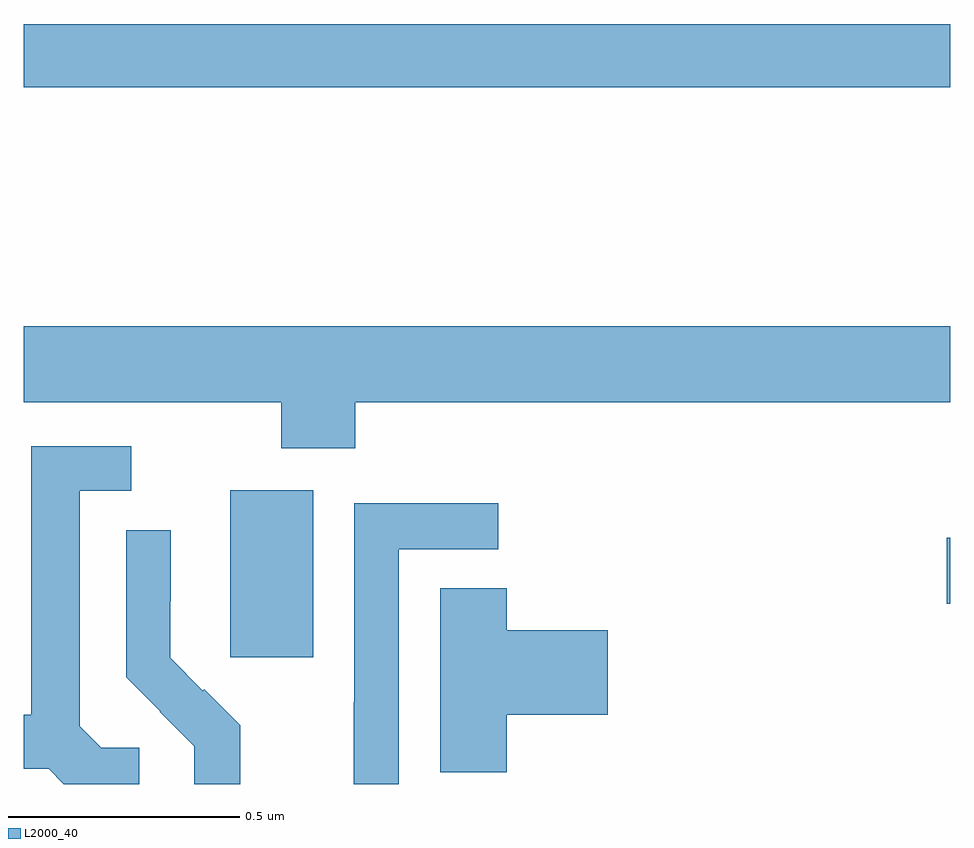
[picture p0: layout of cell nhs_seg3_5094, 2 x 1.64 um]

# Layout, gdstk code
import gdstk
lib = gdstk.Library(unit=1e-6, precision=1e-09)
def R(c, l, rs):  # rectangles x0, y0, x1, y1
    for r in rs: c.add(gdstk.rectangle(r[:2], r[2:], *l))
def P(c, l, *ps):  # polygons
    for p in ps: c.add(gdstk.Polygon(p, *l))
L2000_40 = (2000, 40)

nhs_seg3_5094 = lib.new_cell('nhs_seg3_5094')
R(nhs_seg3_5094, L2000_40, [(174.446,725.673,174.625,726.034), (175.992,725.789,176,725.931), (174,726.904,176,727.04)])
P(nhs_seg3_5094, L2000_40, [(174.716,726.224),(176,726.224),(176,726.388),(174,726.388),(174,726.224),(174.556,726.224),(174.556,726.125),(174.716,726.125)],
  [(174.25,725.478),(174.168,725.478),(174.121,725.525),(174.121,726.033),(174.232,726.033),(174.232,726.129),(174.017,726.129),(174.017,725.549),(174,725.549),(174,725.433),(174.054,725.433),(174.087,725.4),(174.25,725.4)],
  [(174.81,725.907),(175.024,725.907),(175.024,726.006),(174.714,726.006),(174.714,725.576),(174.712,725.576),(174.712,725.4),(174.81,725.4)],
  [(174.467,725.527),(174.39,725.604),(174.387,725.601),(174.317,725.672),(174.317,725.794),(174.318,725.794),(174.318,725.948),(174.222,725.948),(174.222,725.63),(174.295,725.557),(174.294,725.556),(174.368,725.482),(174.368,725.4),(174.467,725.4)],
  [(175.043,725.549),(175.261,725.549),(175.261,725.732),(175.043,725.732),(175.043,725.822),(174.899,725.822),(174.899,725.425),(175.043,725.425)])

lib.write_gds('nhs_seg3_5094.gds')
